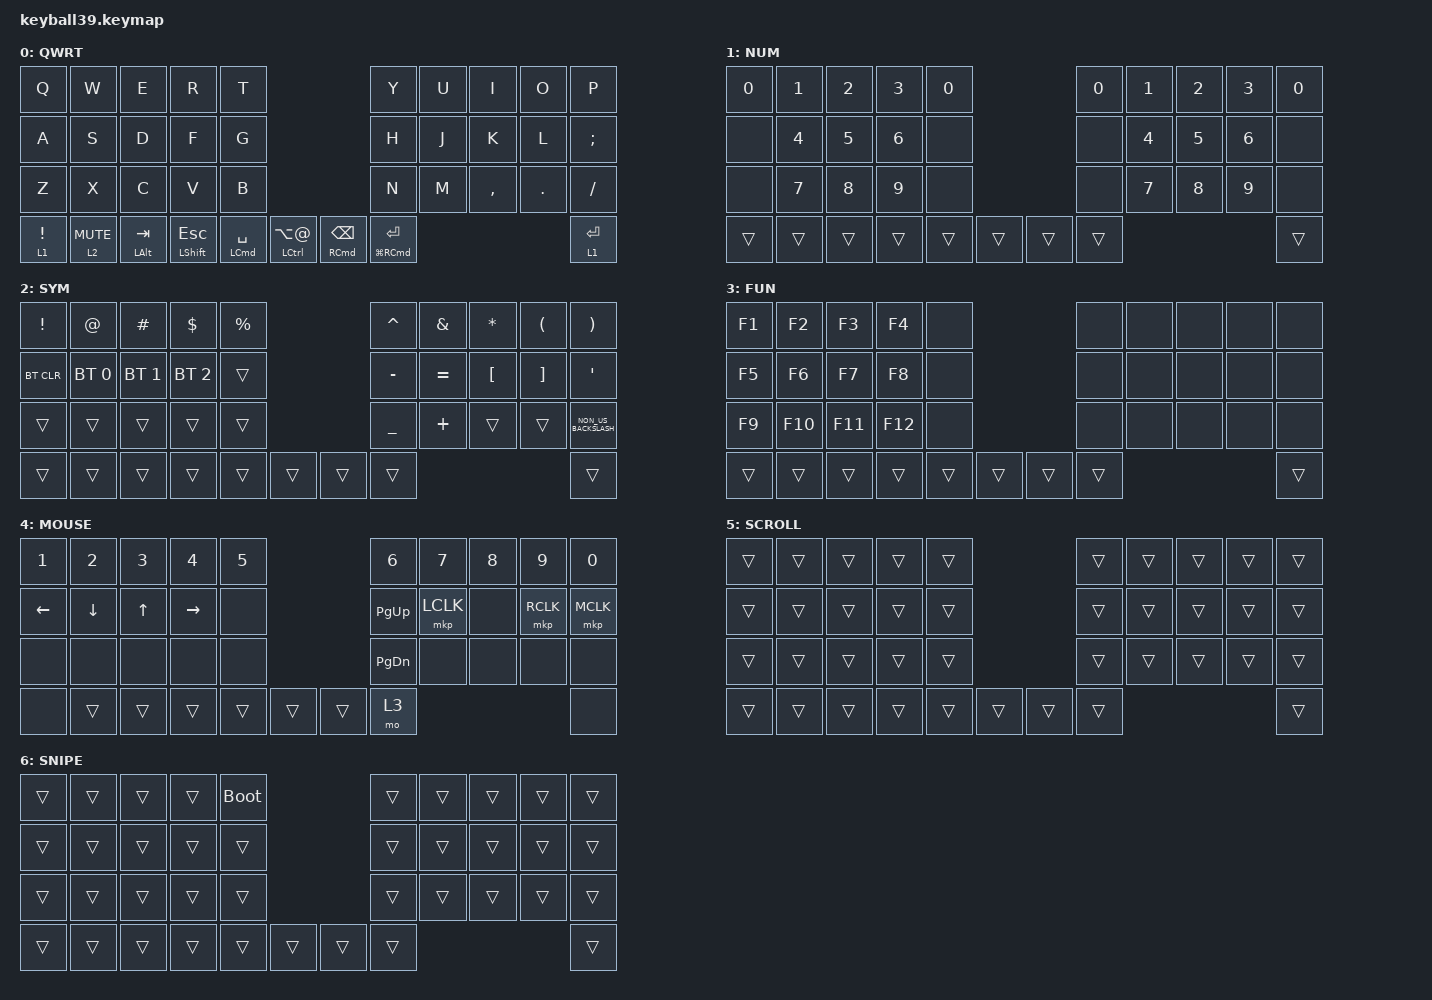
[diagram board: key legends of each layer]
#define DEFAULT 0
#define NUM     1
#define SYM     2
#define FUN     3
#define MOUSE   4
#define SCROLL  5
#define SNIPE   6

#include <behaviors/mouse_keys.dtsi>
#include <dt-bindings/zmk/mouse.h>
#include <dt-bindings/zmk/mouse.h>
#include <behaviors.dtsi>
#include <dt-bindings/zmk/bt.h>
#include <dt-bindings/zmk/keys.h>
#include <dt-bindings/zmk/mouse.h>

&lt {
    tapping-term-ms = <240>;
    flavor = "balanced";
    quick-tap-ms = <150>;
};

&mt {
    tapping-term-ms = <200>;
    flavor = "tap-preferred";
    quick-tap-ms = <150>;
};

&caps_word { continue-list = <UNDERSCORE MINUS>; };

/ {
    // custom shift using mod-morph 

    behaviors {
        cmqus: comma_question {
            compatible = "zmk,behavior-mod-morph";
            label = "COMMA_QUESTION";
            #binding-cells = <0>;
            bindings = <&kp COMMA>, <&kp QUESTION>;

            mods = <(MOD_LSFT|MOD_RSFT)>;
        };

        dtsmi: dot_semi {
            compatible = "zmk,behavior-mod-morph";
            label = "DOT_SEMI";
            #binding-cells = <0>;
            bindings = <&kp DOT>, <&kp SEMI>;

            mods = <(MOD_LSFT|MOD_RSFT)>;
        };
    };

    macros {
        Hiragana: Hiragana {
            compatible = "zmk,behavior-macro";
            #binding-cells = <0>;
            bindings = <&kp LC(SPACE)>;
            label = "HIRAGANA";
        };
    };

    keymap {
        compatible = "zmk,keymap";

        default_layer {
            label = "QWRT";
            bindings = <
&kp Q              &kp W         &kp E         &kp R                  &kp T                                                                              &kp Y                        &kp U  &kp I      &kp O    &kp P
&kp A              &kp S         &kp D         &kp F                  &kp G                                                                              &kp H                        &kp J  &kp K      &kp L    &kp SEMI
&kp Z              &kp X         &kp C         &kp V                  &kp B                                                                              &kp N                        &kp M  &kp COMMA  &kp DOT  &kp SLASH
&lt 1 EXCLAMATION  &lt 2 C_MUTE  &mt LALT TAB  &mt LEFT_SHIFT ESCAPE  &mt LEFT_COMMAND SPACE  &mt LEFT_CONTROL LA(AT_SIGN)  &mt RIGHT_COMMAND BACKSPACE  &mt LG(RIGHT_COMMAND) ENTER                             &lt 1 ENTER
            >;
        };

        number_layer {
            label = "NUM";
            bindings = <
&kp NUMBER_0  &kp NUMBER_1  &kp NUMBER_2  &kp NUMBER_3  &kp NUMBER_0                  &kp NUMBER_0  &kp NUMBER_1  &kp NUMBER_2  &kp NUMBER_3  &kp NUMBER_0
&none         &kp NUMBER_4  &kp NUMBER_5  &kp NUMBER_6  &none                         &none         &kp NUMBER_4  &kp NUMBER_5  &kp NUMBER_6  &none
&none         &kp NUMBER_7  &kp NUMBER_8  &kp NUMBER_9  &none                         &none         &kp NUMBER_7  &kp NUMBER_8  &kp NUMBER_9  &none
&trans        &trans        &trans        &trans        &trans        &trans  &trans  &trans                                                  &trans
            >;
        };

        symbol_layer {
            label = "SYM";
            bindings = <
&kp EXCLAMATION  &kp AT_SIGN   &kp HASH      &kp DOLLAR    &kp PERCENT                  &kp CARET       &kp AMPERSAND  &kp ASTERISK      &kp LEFT_PARENTHESIS  &kp RIGHT_PARENTHESIS
&bt BT_CLR       &bt BT_SEL 0  &bt BT_SEL 1  &bt BT_SEL 2  &trans                       &kp MINUS       &kp EQUAL      &kp LEFT_BRACKET  &kp RIGHT_BRACKET     &kp SQT
&trans           &trans        &trans        &trans        &trans                       &kp UNDERSCORE  &kp PLUS       &trans            &trans                &kp NON_US_BACKSLASH
&trans           &trans        &trans        &trans        &trans       &trans  &trans  &trans                                                                 &trans
            >;
        };

        function_layer {
            label = "FUN";
            bindings = <
&kp F1  &kp F2   &kp F3   &kp F4   &none                   &none   &none  &none  &none  &none
&kp F5  &kp F6   &kp F7   &kp F8   &none                   &none   &none  &none  &none  &none
&kp F9  &kp F10  &kp F11  &kp F12  &none                   &none   &none  &none  &none  &none
&trans  &trans   &trans   &trans   &trans  &trans  &trans  &trans                       &trans
            >;
        };

        mouse_layer {
            label = "MOUSE";
            bindings = <
&kp N1          &kp N2          &kp N3        &kp N4     &kp N5                  &kp N6         &kp N7     &kp N8  &kp N9     &kp N0
&kp LEFT_ARROW  &kp DOWN_ARROW  &kp UP_ARROW  &kp RIGHT  &none                   &kp PAGE_UP    &mkp LCLK  &none   &mkp RCLK  &mkp MCLK
&none           &none           &none         &none      &none                   &kp PAGE_DOWN  &none      &none   &none      &none
&none           &trans          &trans        &trans     &trans  &trans  &trans  &mo 3                                        &none
            >;
        };

        scroll_layer {
            label = "SCROLL";
            bindings = <
&trans  &trans  &trans  &trans  &trans                  &trans  &trans  &trans  &trans  &trans
&trans  &trans  &trans  &trans  &trans                  &trans  &trans  &trans  &trans  &trans
&trans  &trans  &trans  &trans  &trans                  &trans  &trans  &trans  &trans  &trans
&trans  &trans  &trans  &trans  &trans  &trans  &trans  &trans                          &trans
            >;
        };

        snipe_layer {
            label = "SNIPE";
            bindings = <
&trans  &trans  &trans  &trans  &bootloader                  &trans  &trans  &trans  &trans  &trans
&trans  &trans  &trans  &trans  &trans                       &trans  &trans  &trans  &trans  &trans
&trans  &trans  &trans  &trans  &trans                       &trans  &trans  &trans  &trans  &trans
&trans  &trans  &trans  &trans  &trans       &trans  &trans  &trans                          &trans
            >;
        };
    };
};
